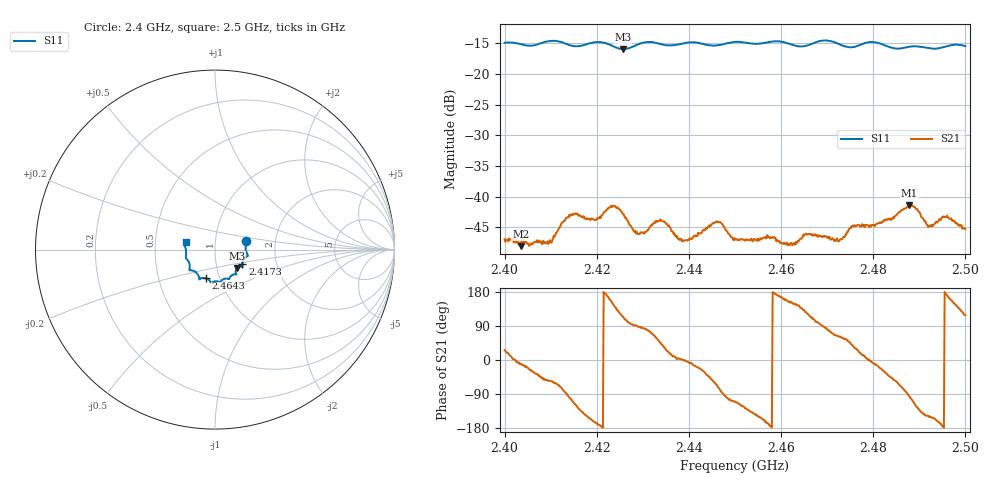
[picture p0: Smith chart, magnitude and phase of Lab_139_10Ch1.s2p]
# Hz S RI R 50
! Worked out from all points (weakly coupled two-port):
!   601 points, 2.4 GHz to 2.5 GHz, reference 50 ohm
!   highest |S21| = -41.43 dB at 2.4878 GHz (marker M1); lowest = -48.1 dB at 2.4035 GHz (marker M2)
!   lowest |S11| = -15.9 dB at 2.4257 GHz (marker M3), VSWR 1.38, Z = 62.5 - j13.1 ohm
!   |S11| at or under -10 dB: start of sweep to end of sweep
!   S12 and S22 are empty: the file has one direction only
!   S11 on the Smith chart (normalised r, x): 2.4 GHz: 1.41, +0.14; 2.4173 GHz: 1.34, -0.23; 2.4643 GHz: 0.86, -0.28; 2.5 GHz: 0.72, +0.06
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2.4e9  0.1731 0.0491  0.00403 0.00199  0 0  0 0
2.4035e9  0.1727 0.0301  0.00387 -0.000703  0 0  0 0
2.409833e9  0.1831 -0.0321  0.00254 -0.0036  0 0  0 0
2.413833e9  0.1675 -0.0457  -0.000655 -0.00672  0 0  0 0
2.416667e9  0.1531 -0.0748  -0.00479 -0.00486  0 0  0 0
2.417333e9  0.1522 -0.0823  -0.00528 -0.00403  0 0  0 0
2.4235e9  0.1409 -0.0938  -0.00709 0.00442  0 0  0 0
2.425667e9  0.1226 -0.102  -0.00296 0.00659  0 0  0 0
2.429e9  0.1159 -0.131  0.000223 0.00492  0 0  0 0
2.433333e9  0.113 -0.1372  0.00387 0.00496  0 0  0 0
2.4385e9  0.0813 -0.1572  0.0043 0.000119  0 0  0 0
2.446167e9  0.0464 -0.1652  0.00226 -0.00582  0 0  0 0
2.45e9  0.0295 -0.1808  -0.00158 -0.00415  0 0  0 0
2.464333e9  -0.05 -0.1603  -0.00332 0.00307  0 0  0 0
2.466667e9  -0.0757 -0.1592  -0.00195 0.00455  0 0  0 0
2.472833e9  -0.0902 -0.1488  0.00212 0.00394  0 0  0 0
2.4755e9  -0.1111 -0.1228  0.00455 0.00358  0 0  0 0
2.483333e9  -0.1408 -0.0897  0.00496 -0.00436  0 0  0 0
2.487833e9  -0.159 -0.0516  -0.000827 -0.00844  0 0  0 0
2.492e9  -0.1608 -0.0257  -0.00483 -0.0029  0 0  0 0
2.495667e9  -0.1665 0.016  -0.00675 0.000475  0 0  0 0
2.5e9  -0.1636 0.0421  -0.00256 0.0048  0 0  0 0
